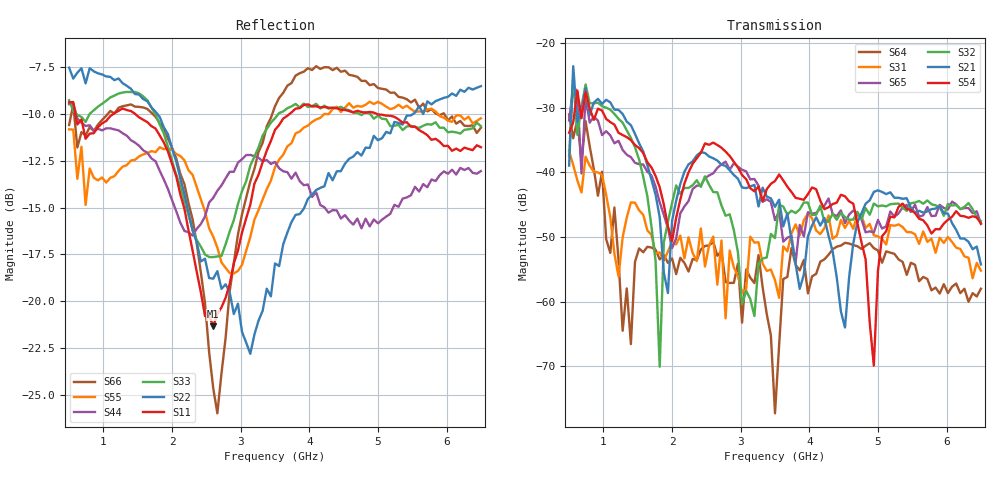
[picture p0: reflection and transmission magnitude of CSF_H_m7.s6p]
!Keysight Technologies,M9804A,MY58100912,A.14.10.03
!Date: Thursday, April 27, 2023 10:28:33
!Correction: S11(C  6-Port  )
!S12(C  6-Port  )
!S13(C  6-Port  )
!S14(C  6-Port  )
!S15(C  6-Port  )
!S16(C  6-Port  )
!S21(C  6-Port  )
!S22(C  6-Port  )
!S23(C  6-Port  )
!S24(C  6-Port  )
!S25(C  6-Port  )
!S26(C  6-Port  )
!S31(C  6-Port  )
!S32(C  6-Port  )
!S33(C  6-Port  )
!S34(C  6-Port  )
!S35(C  6-Port  )
!S36(C  6-Port  )
!S41(C  6-Port  )
!S42(C  6-Port  )
!S43(C  6-Port  )
!S44(C  6-Port  )
!S45(C  6-Port  )
!S46(C  6-Port  )
!S51(C  6-Port  )
!S52(C  6-Port  )
!S53(C  6-Port  )
!S54(C  6-Port  )
!S55(C  6-Port  )
!S56(C  6-Port  )
!S61(C  6-Port  )
!S62(C  6-Port  )
!S63(C  6-Port  )
!S64(C  6-Port  )
!S65(C  6-Port  )
!S66(C  6-Port  )
!S6P File: Measurement: :
# Hz S  RI  R 50
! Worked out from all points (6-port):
!   101 points, 500 MHz to 6.5 GHz, reference 50 ohm
!   strongest paths, dB at 500 MHz, 2 GHz, 3.5 GHz, 5 GHz, 6.5 GHz:
!     S54: -33.9, -50.6, -41.3, -55.3, -47.9
!     S21: -39.0, -47.5, -45.3, -42.8, -54.2
!     S32: -37.4, -44.8, -50.2, -45.3, -47.5
!     S65: -32.0, -51.7, -47.4, -47.4, -48.0
!     S31: -36.8, -50.8, -56.7, -49.9, -55.2
!     S64: -31.0, -53.3, -77.3, -52.1, -58.0
!   lowest |S11| = -21.3 dB at 2.6 GHz (marker M1), VSWR 1.19, Z = 42.4 + j2.28 ohm
!   |S11| at or under -10 dB: 592.3 MHz to 1.141 GHz (548.5 MHz wide, 63.3 % of centre); 1.465 GHz to 3.71 GHz (2.245 GHz wide, 86.8 % of centre); 4.991 GHz to end of sweep
